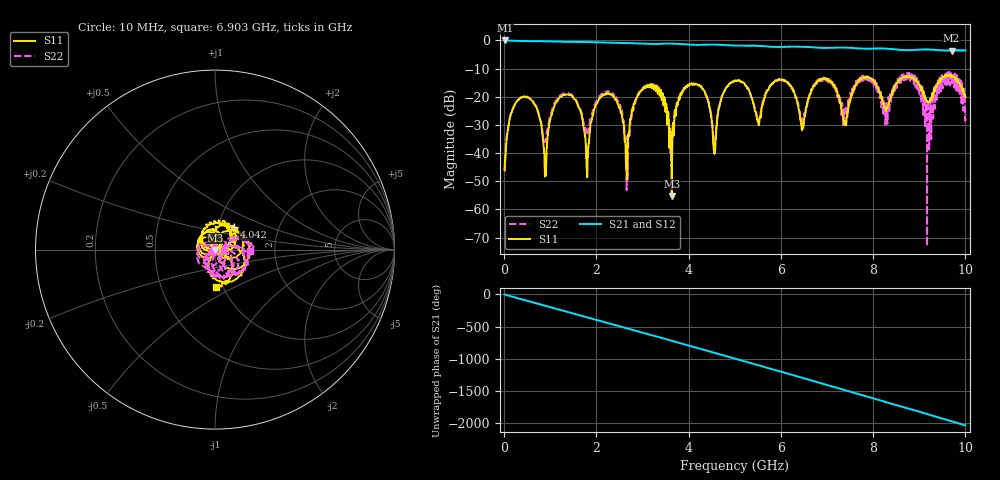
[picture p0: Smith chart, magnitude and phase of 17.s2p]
!Keysight Technologies,E5080B,MY59205177,A.15.75.32
!Date: Friday, February 23, 2024 03:26:56
!Correction: S11(Cdelta 2-Port  )
!S21(Cdelta 2-Port  )
!S12(Cdelta 2-Port  )
!S22(Cdelta 2-Port  )
!S2P File: Measurements: S11, S21, S12, S22:
# Hz S  dB  R 50
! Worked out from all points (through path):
!   10001 points, 10 MHz to 10 GHz, reference 50 ohm
!   highest |S21| = -0.02 dB at 14 MHz (marker M1); lowest = -3.7 dB at 9.701 GHz (marker M2)
!   group delay of S21, straight-line fit = 565 ps
!   lowest |S11| = -55.2 dB at 3.633 GHz (marker M3), VSWR 1.00, Z = 50 - j0.175 ohm
!   |S11| at or under -10 dB: start of sweep to end of sweep
!   |S22| runs from -73.0 to -11.2 dB; largest |S21 - S12| = 0.0016
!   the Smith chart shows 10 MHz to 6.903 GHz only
!   S11 on the Smith chart (normalised r, x): 10 MHz: 1.01, -0.00; 4.042 GHz: 1.19, +0.31; 6.903 GHz: 0.92, -0.40
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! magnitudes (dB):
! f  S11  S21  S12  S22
! 10 MHz  -45.9  0.0  0.0  -46.1
! 14 MHz  -43.2  0.0  0.0  -45.8
! 376.6 MHz  -20.2  -0.2  -0.2  -20.1
! 889.1 MHz  -47.7  -0.3  -0.3  -35.7
! 1.211 GHz  -20.1  -0.5  -0.5  -19.6
! 1.675 GHz  -26.1  -0.5  -0.6  -25.5
! 1.803 GHz  -48.0  -0.6  -0.6  -32.4
! 2.35 GHz  -19.3  -0.9  -0.9  -18.8
! 2.664 GHz  -49.2  -0.9  -0.9  -42.0
! 2.891 GHz  -19.4  -1.1  -1.1  -20.2
! 3.341 GHz  -17.5  -1.2  -1.2  -17.8
! 3.633 GHz  -55.2  -1.1  -1.1  -43.9
! 4.042 GHz  -15.6  -1.5  -1.5  -15.6
! 4.56 GHz  -40.1  -1.5  -1.5  -39.3
! 5.005 GHz  -14.2  -1.8  -1.8  -14.5
! 5.516 GHz  -29.8  -1.9  -1.9  -28.8
! 6.67 GHz  -17.3  -2.4  -2.4  -16.9
! 6.903 GHz  -13.6  -2.6  -2.6  -14.3
! 7.383 GHz  -30.0  -2.6  -2.6  -25.4
! 8.336 GHz  -22.6  -3.0  -3.0  -20.6
! 9.701 GHz  -12.3  -3.7  -3.7  -13.9
! 10 GHz  -20.1  -3.6  -3.6  -26.1
